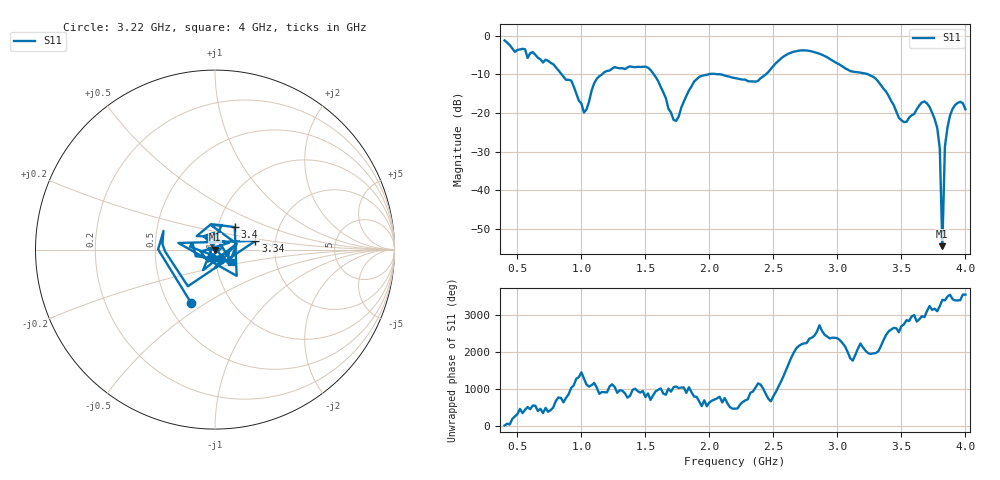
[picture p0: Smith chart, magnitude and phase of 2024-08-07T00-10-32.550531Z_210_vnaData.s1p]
!Created with skrf (http://scikit-rf.org).
# Hz S RI R 50.0
!freq ReS11 ImS11
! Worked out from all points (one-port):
!   181 points, 400 MHz to 4 GHz, reference 50 ohm
!   lowest |S11| = -54.5 dB at 3.82 GHz (marker M1), VSWR 1.00, Z = 49.8 - j0.00421 ohm
!   |S11| at or under -10 dB: 1.566 GHz to 1.989 GHz (422.9 MHz wide, 23.8 % of centre); 2.09 GHz to 2.44 GHz (350.4 MHz wide, 15.5 % of centre); 3.241 GHz to end of sweep (the widest 3 of 4)
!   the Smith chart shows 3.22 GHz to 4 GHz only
!   S11 on the Smith chart (normalised r, x): 3.22 GHz: 0.65, -0.43; 3.34 GHz: 1.57, +0.16; 3.4 GHz: 1.20, +0.31; 4 GHz: 1.18, -0.16
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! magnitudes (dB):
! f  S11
! 400 MHz  -1.2
! 860 MHz  -10.6
! 920 MHz  -11.6
! 1.02 GHz  -19.9
! 1.12 GHz  -11.1
! 1.3 GHz  -8.4
! 1.52 GHz  -8.2
! 1.6 GHz  -11.8
! 1.72 GHz  -21.8
! 1.76 GHz  -20.9
! 1.92 GHz  -10.7
! 2.2 GHz  -10.9
! 2.38 GHz  -11.7
! 2.66 GHz  -4.1
! 3.1 GHz  -9.1
! 3.22 GHz  -9.8
! 3.34 GHz  -12.7
! 3.4 GHz  -15.6
! 3.48 GHz  -21.2
! 3.56 GHz  -21.2
! 3.68 GHz  -17.0
! 3.78 GHz  -23.9
! 3.8 GHz  -29.2
! 3.82 GHz  -54.5
! 3.84 GHz  -28.7
! 3.86 GHz  -23.8
! 3.92 GHz  -17.9
! 4 GHz  -19.0
